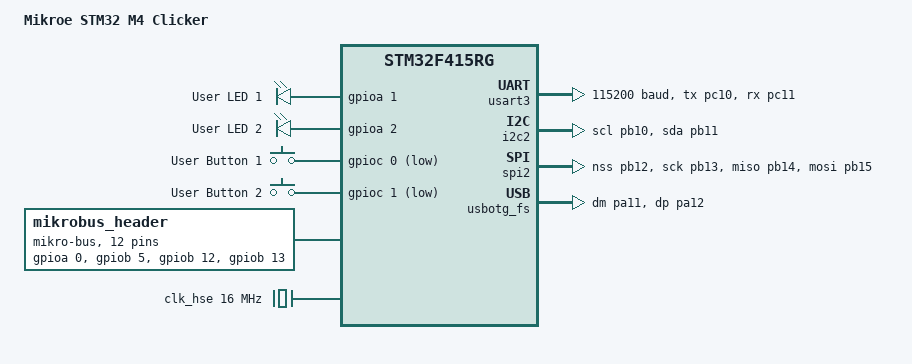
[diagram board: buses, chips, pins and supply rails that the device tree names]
/*
 * Copyright (c) 2024 Ian Morris
 *
 * SPDX-License-Identifier: Apache-2.0
 */

/dts-v1/;
#include <st/f4/stm32f415Rg.dtsi>
#include <st/f4/stm32f415rgtx-pinctrl.dtsi>
#include <zephyr/dt-bindings/gpio/mikro-bus.h>
#include <zephyr/dt-bindings/input/input-event-codes.h>

/ {
	model = "Mikroe STM32 M4 Clicker";
	compatible = "st,stm32f415rg";

	chosen {
		zephyr,sram = &sram0;
		zephyr,flash = &flash0;
	};

	leds {
		compatible = "gpio-leds";

		ld1: led_1 {
			gpios = <&gpioa 1 GPIO_ACTIVE_HIGH>;
			label = "User LED 1";
		};

		ld2: led_2 {
			gpios = <&gpioa 2 GPIO_ACTIVE_HIGH>;
			label = "User LED 2";
		};
	};

	gpio_keys {
		compatible = "gpio-keys";

		btn1: button_1 {
			label = "User Button 1";
			gpios = <&gpioc 0 GPIO_ACTIVE_LOW>;
			zephyr,code = <INPUT_KEY_0>;
		};

		btn2: button_2 {
			label = "User Button 2";
			gpios = <&gpioc 1 GPIO_ACTIVE_LOW>;
			zephyr,code = <INPUT_KEY_0>;
		};
	};

	mikrobus_header: mikrobus-connector {
		compatible = "mikro-bus";
		#gpio-cells = <2>;
		gpio-map-mask = <0xffffffff 0xffffffc0>;
		gpio-map-pass-thru = <0 0x3f>;
		gpio-map = <MIKROBUS_AN 0 &gpioa 0 0>,
			   <MIKROBUS_RST 0 &gpiob 5 0>,
			   <MIKROBUS_CS 0 &gpiob 12 0>,
			   <MIKROBUS_SCK 0 &gpiob 13 0>,
			   <MIKROBUS_MISO 0 &gpiob 14 0>,
			   <MIKROBUS_MOSI 0 &gpiob 15 0>,
			   /* +3.3V */
			   /* GND */
			   <MIKROBUS_PWM 0 &gpiob 0 0>,
			   <MIKROBUS_INT 0 &gpiob 1 0>,
			   <MIKROBUS_RX 0 &gpioc 11 0>,
			   <MIKROBUS_TX 0 &gpioc 10 0>,
			   <MIKROBUS_SCL 0 &gpiob 10 0>,
			   <MIKROBUS_SDA 0 &gpiob 11 0>;
		/* +5V */
		/* GND */
	};

	aliases {
		led0 = &ld1;
		led1 = &ld2;
		sw0 = &btn1;
	};
};

&clk_lsi {
	status = "okay";
};

&clk_hse {
	clock-frequency = <DT_FREQ_M(16)>;
	status = "okay";
};

&pll {
	div-m = <16>;
	mul-n = <336>;
	div-p = <2>;
	div-q = <7>;
	clocks = <&clk_hse>;
	status = "okay";
};

&rcc {
	clocks = <&pll>;
	clock-frequency = <DT_FREQ_M(168)>;
	ahb-prescaler = <1>;
	apb1-prescaler = <4>;
	apb2-prescaler = <2>;
};

&usart3 {
	pinctrl-0 = <&usart3_tx_pc10 &usart3_rx_pc11>;
	pinctrl-names = "default";
	current-speed = <115200>;
	status = "okay";
};

&i2c2 {
	pinctrl-0 = <&i2c2_scl_pb10 &i2c2_sda_pb11>;
	pinctrl-names = "default";
	scl-gpios = <&gpiob 10 GPIO_ACTIVE_HIGH>;
	sda-gpios = <&gpiob 11 GPIO_ACTIVE_HIGH>;
	status = "okay";
};

&spi2 {
	pinctrl-0 = <&spi2_nss_pb12 &spi2_sck_pb13
		     &spi2_miso_pb14 &spi2_mosi_pb15>;
	pinctrl-names = "default";
	status = "okay";
};

zephyr_udc0: &usbotg_fs {
	pinctrl-0 = <&usb_otg_fs_dm_pa11 &usb_otg_fs_dp_pa12>;
	pinctrl-names = "default";
	status = "okay";
};

#include <../boards/common/usb/cdc_acm_serial.dtsi>

mikrobus_spi: &spi2 {};

mikrobus_serial: &usart3 {};

mikrobus_i2c: &i2c2 {};
